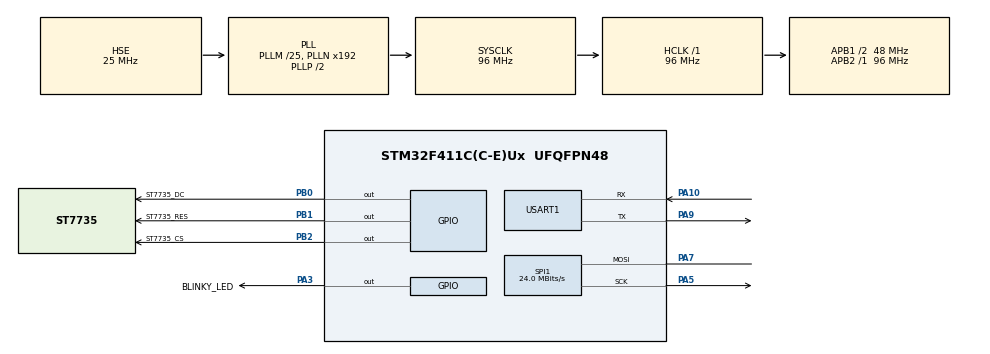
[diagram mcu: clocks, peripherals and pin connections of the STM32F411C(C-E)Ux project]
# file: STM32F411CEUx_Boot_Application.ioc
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Mcu.Family=STM32F4
Mcu.Name=STM32F411C(C-E)Ux
Mcu.Package=UFQFPN48
NVIC.PriorityGroup=NVIC_PRIORITYGROUP_4
PA10.Mode=Asynchronous
PA10.Signal=USART1_RX
PA13.Mode=Serial_Wire
PA13.Signal=SYS_JTMS-SWDIO
PA14.Mode=Serial_Wire
PA14.Signal=SYS_JTCK-SWCLK
PA3.GPIO_Label=BLINKY_LED
PA3.Signal=GPIO_Output
PA5.Mode=Simplex_Bidirectional_Master
PA5.Signal=SPI1_SCK
PA7.Mode=Simplex_Bidirectional_Master
PA7.Signal=SPI1_MOSI
PA9.Mode=Asynchronous
PA9.Signal=USART1_TX
PB0.GPIO_Label=ST7735_DC
PB0.PinState=GPIO_PIN_SET
PB0.Signal=GPIO_Output
PB1.GPIO_Label=ST7735_RES
PB1.PinState=GPIO_PIN_SET
PB1.Signal=GPIO_Output
PB2.GPIO_Label=ST7735_CS
PB2.PinState=GPIO_PIN_SET
PB2.Signal=GPIO_Output
PC14-OSC32_IN.Mode=LSE-External-Oscillator
PC14-OSC32_IN.Signal=RCC_OSC32_IN
PC15-OSC32_OUT.Mode=LSE-External-Oscillator
PC15-OSC32_OUT.Signal=RCC_OSC32_OUT
PH0\ -\ OSC_IN.Mode=HSE-External-Oscillator
PH0\ -\ OSC_IN.Signal=RCC_OSC_IN
PH1\ -\ OSC_OUT.Mode=HSE-External-Oscillator
PH1\ -\ OSC_OUT.Signal=RCC_OSC_OUT
ProjectManager.HeapSize=0x200
ProjectManager.StackSize=0x400
ProjectManager.TargetToolchain=STM32CubeIDE
RCC.48MHZClocksFreq_Value=48000000
RCC.AHBFreq_Value=96000000
RCC.APB1CLKDivider=RCC_HCLK_DIV2
RCC.APB1Freq_Value=48000000
RCC.APB1TimFreq_Value=96000000
RCC.APB2Freq_Value=96000000
RCC.APB2TimFreq_Value=96000000
RCC.CortexFreq_Value=96000000
RCC.HCLKFreq_Value=96000000
RCC.HSE_VALUE=25000000
RCC.HSI_VALUE=16000000
RCC.PLLM=25
RCC.PLLSourceVirtual=RCC_PLLSOURCE_HSE
RCC.SYSCLKFreq_VALUE=96000000
RCC.SYSCLKSource=RCC_SYSCLKSOURCE_PLLCLK
RCC.VCOOutputFreq_Value=192000000
SPI1.BaudRatePrescaler=SPI_BAUDRATEPRESCALER_4
SPI1.CalculateBaudRate=24.0 MBits/s
SPI1.Direction=SPI_DIRECTION_1LINE
SPI1.Mode=SPI_MODE_MASTER
SPI1.VirtualType=VM_MASTER
USART1.VirtualMode=VM_ASYNC
board=custom

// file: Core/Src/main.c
/* USER CODE BEGIN Header */
/**
  ******************************************************************************
  * @file           : main.c
  * @brief          : Main program body
  ******************************************************************************
  * @attention
  *
  * Copyright (c) 2024 STMicroelectronics.
  * All rights reserved.
  *
  * This software is licensed under terms that can be found in the LICENSE file
  * in the root directory of this software component.
  * If no LICENSE file comes with this software, it is provided AS-IS.
  *
  ******************************************************************************
  * SOURCE OF THIS TUTORIAL:
  * PART1 & 2 (THIS REVISION) https://www.youtube.com/watch?v=jzo7z2gNBgg&list=PLArwqFvBIlwHRgPtsQAhgZavlp42qpkiG&index=1
  *
  */
/* USER CODE END Header */
#include "main.h"

/* USER CODE BEGIN Includes */
#include <stdio.h>
#include <string.h>
#include "st7735.h"
#include "fonts.h"
/* USER CODE END Includes */

/* USER CODE BEGIN PD */
#define MAJOR		0		// Major revision
#define MINOR		1		//Minor revision
/* USER CODE END PD */

SPI_HandleTypeDef hspi1;

UART_HandleTypeDef huart1;

/* USER CODE BEGIN PV */
const uint8_t APP_Version[2]={MAJOR,MINOR};
char APPString[64];
/* USER CODE END PV */

void SystemClock_Config(void);
static void MX_GPIO_Init(void);
static void MX_USART1_UART_Init(void);
static void MX_SPI1_Init(void);

int main(void)
{

  /* MCU Configuration--------------------------------------------------------*/

  /* Reset of all peripherals, Initializes the Flash interface and the Systick. */
  HAL_Init();

  /* Configure the system clock */
  SystemClock_Config();

  /* Initialize all configured peripherals */
  MX_GPIO_Init();
  MX_USART1_UART_Init();
  MX_SPI1_Init();
  /* USER CODE BEGIN 2 */
  ST7735_Init();
  ST7735_FillScreen(ST7735_COLOUR_GREEN);
//  printf("Application Started : %d.%d \n\r",APP_Version[0],APP_Version[1]);

  /* USER CODE END 2 */

  /* Infinite loop */
  while (1)
  {

    /* USER CODE BEGIN 3 */
//	  HAL_GPIO_TogglePin(BLINKY_LED_GPIO_Port, BLINKY_LED_Pin);
//	  HAL_Delay(200);
  }
  /* USER CODE END 3 */
}

void SystemClock_Config(void)
{
  RCC_OscInitTypeDef RCC_OscInitStruct = {0};
  RCC_ClkInitTypeDef RCC_ClkInitStruct = {0};

  /** Configure the main internal regulator output voltage
  */
  __HAL_RCC_PWR_CLK_ENABLE();
  __HAL_PWR_VOLTAGESCALING_CONFIG(PWR_REGULATOR_VOLTAGE_SCALE1);

  /** Initializes the RCC Oscillators according to the specified parameters
  * in the RCC_OscInitTypeDef structure.
  */
  RCC_OscInitStruct.OscillatorType = RCC_OSCILLATORTYPE_HSE;
  RCC_OscInitStruct.HSEState = RCC_HSE_ON;
  RCC_OscInitStruct.PLL.PLLState = RCC_PLL_ON;
  RCC_OscInitStruct.PLL.PLLSource = RCC_PLLSOURCE_HSE;
  RCC_OscInitStruct.PLL.PLLM = 25;
  RCC_OscInitStruct.PLL.PLLN = 192;
  RCC_OscInitStruct.PLL.PLLP = RCC_PLLP_DIV2;
  RCC_OscInitStruct.PLL.PLLQ = 4;
  if (HAL_RCC_OscConfig(&RCC_OscInitStruct) != HAL_OK)
  {
    Error_Handler();
  }

  /** Initializes the CPU, AHB and APB buses clocks
  */
  RCC_ClkInitStruct.ClockType = RCC_CLOCKTYPE_HCLK|RCC_CLOCKTYPE_SYSCLK
                              |RCC_CLOCKTYPE_PCLK1|RCC_CLOCKTYPE_PCLK2;
  RCC_ClkInitStruct.SYSCLKSource = RCC_SYSCLKSOURCE_PLLCLK;
  RCC_ClkInitStruct.AHBCLKDivider = RCC_SYSCLK_DIV1;
  RCC_ClkInitStruct.APB1CLKDivider = RCC_HCLK_DIV2;
  RCC_ClkInitStruct.APB2CLKDivider = RCC_HCLK_DIV1;

  if (HAL_RCC_ClockConfig(&RCC_ClkInitStruct, FLASH_LATENCY_3) != HAL_OK)
  {
    Error_Handler();
  }
}

static void MX_SPI1_Init(void)
{

  /* SPI1 parameter configuration*/
  hspi1.Instance = SPI1;
  hspi1.Init.Mode = SPI_MODE_MASTER;
  hspi1.Init.Direction = SPI_DIRECTION_1LINE;
  hspi1.Init.DataSize = SPI_DATASIZE_8BIT;
  hspi1.Init.CLKPolarity = SPI_POLARITY_LOW;
  hspi1.Init.CLKPhase = SPI_PHASE_1EDGE;
  hspi1.Init.NSS = SPI_NSS_SOFT;
  hspi1.Init.BaudRatePrescaler = SPI_BAUDRATEPRESCALER_4;
  hspi1.Init.FirstBit = SPI_FIRSTBIT_MSB;
  hspi1.Init.TIMode = SPI_TIMODE_DISABLE;
  hspi1.Init.CRCCalculation = SPI_CRCCALCULATION_DISABLE;
  hspi1.Init.CRCPolynomial = 10;
  if (HAL_SPI_Init(&hspi1) != HAL_OK)
  {
    Error_Handler();
  }

}

static void MX_USART1_UART_Init(void)
{

  huart1.Instance = USART1;
  huart1.Init.BaudRate = 115200;
  huart1.Init.WordLength = UART_WORDLENGTH_8B;
  huart1.Init.StopBits = UART_STOPBITS_1;
  huart1.Init.Parity = UART_PARITY_NONE;
  huart1.Init.Mode = UART_MODE_TX_RX;
  huart1.Init.HwFlowCtl = UART_HWCONTROL_NONE;
  huart1.Init.OverSampling = UART_OVERSAMPLING_16;
  if (HAL_UART_Init(&huart1) != HAL_OK)
  {
    Error_Handler();
  }

}

static void MX_GPIO_Init(void)
{
  GPIO_InitTypeDef GPIO_InitStruct = {0};

  /* GPIO Ports Clock Enable */
  __HAL_RCC_GPIOC_CLK_ENABLE();
  __HAL_RCC_GPIOH_CLK_ENABLE();
  __HAL_RCC_GPIOA_CLK_ENABLE();
  __HAL_RCC_GPIOB_CLK_ENABLE();

  /*Configure GPIO pin Output Level */
  HAL_GPIO_WritePin(BLINKY_LED_GPIO_Port, BLINKY_LED_Pin, GPIO_PIN_RESET);

  /*Configure GPIO pin Output Level */
  HAL_GPIO_WritePin(GPIOB, ST7735_DC_Pin|ST7735_RES_Pin|ST7735_CS_Pin, GPIO_PIN_SET);

  /*Configure GPIO pin : BLINKY_LED_Pin */
  GPIO_InitStruct.Pin = BLINKY_LED_Pin;
  GPIO_InitStruct.Mode = GPIO_MODE_OUTPUT_PP;
  GPIO_InitStruct.Pull = GPIO_NOPULL;
  GPIO_InitStruct.Speed = GPIO_SPEED_FREQ_LOW;
  HAL_GPIO_Init(BLINKY_LED_GPIO_Port, &GPIO_InitStruct);

  /*Configure GPIO pins : ST7735_DC_Pin ST7735_RES_Pin ST7735_CS_Pin */
  GPIO_InitStruct.Pin = ST7735_DC_Pin|ST7735_RES_Pin|ST7735_CS_Pin;
  GPIO_InitStruct.Mode = GPIO_MODE_OUTPUT_PP;
  GPIO_InitStruct.Pull = GPIO_NOPULL;
  GPIO_InitStruct.Speed = GPIO_SPEED_FREQ_LOW;
  HAL_GPIO_Init(GPIOB, &GPIO_InitStruct);

}

/* USER CODE BEGIN 4 */
/**
  * @brief Print the characters to UART (printf).
  * @retval int
  */
#ifdef __GNUC__
  /* With GCC, small printf (option LD Linker->Libraries->Small printf
     set to 'Yes') calls __io_putchar() */
int __io_putchar(int ch)
#else
int fputc(int ch, FILE *f)
#endif /* __GNUC__ */
{
  /* Place your implementation of fputc here */
  /* e.g. write a character to the UART3 and Loop until the end of transmission */
  HAL_UART_Transmit(&huart1, (uint8_t *)&ch, 1, HAL_MAX_DELAY);

  return ch;
}
/* USER CODE END 4 */

void Error_Handler(void)
{
  __disable_irq();
  while (1)
  {
  }
}
